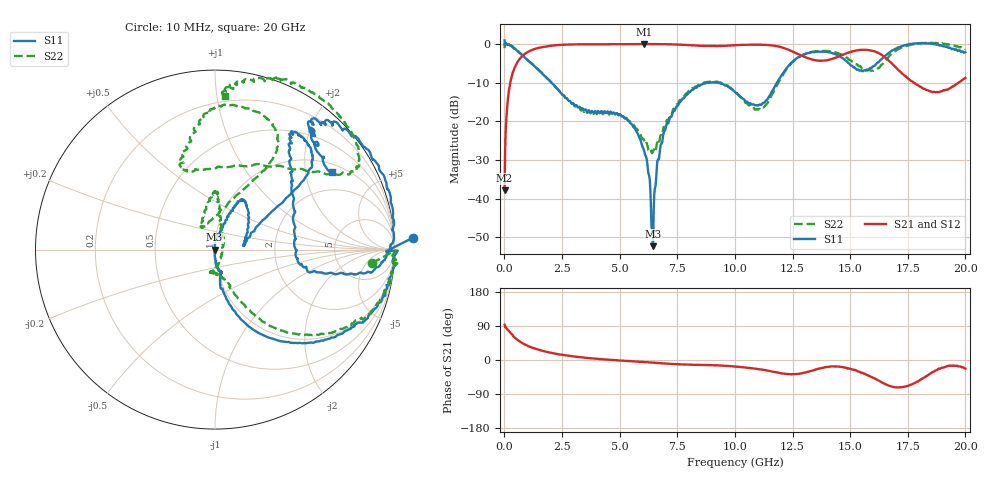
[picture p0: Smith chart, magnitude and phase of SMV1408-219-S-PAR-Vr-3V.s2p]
! Skyworks SMV1408-219 De-embedded S-Parameter Data
! Created  11-5-2013
! 2 Port Network Data
! Mounted on Board # SK41159-3 Rev 1 in Series, Cathode is connected to RF1 as Input( Pin 1) and Anode is connected RF2 as Output(Pin 2)
! Temperature = +25 °C
! RF traces and connectors are de-embedded using TRL calibration and standards
! Reference planes are package pins
! Pin 1 Input port (S-Port1), Pin 2 Output port (S-port2)
! Pin = 0 dBm, Bias: Vr = 3V
! Dev # 1
#  HZ  S  DB  R  50.00
! Rohde & Schwarz ZVA24 4Ports - Version 2.90 - 1145.1110k26 SN: 100216
! Date: 2013-11-05 15:25:33
! Measurements: S11 S21 S12 S22
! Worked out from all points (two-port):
!   2000 points, 10 MHz to 20 GHz, reference 50 ohm
!   highest |S21| = -0.06 dB at 6.05 GHz (marker M1); lowest = -37.8 dB at 10 MHz (marker M2)
!   |S21| within 3 dB of the highest: 791.7 MHz to 12.9 GHz (12.1 GHz wide, 177 % of centre); 14.59 GHz to 16.42 GHz (1.823 GHz wide, 11.8 % of centre)
!   lowest |S11| = -52.3 dB at 6.45 GHz (marker M3), VSWR 1.00, Z = 49.8 - j0.0363 ohm
!   |S11| at or under -10 dB: 2.039 GHz to 8.898 GHz (6.859 GHz wide, 125 % of centre); 9.116 GHz to 9.168 GHz (51.06 MHz wide, 0.559 % of centre); 9.223 GHz to 11.83 GHz (2.608 GHz wide, 24.8 % of centre)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
!   |S22| runs from -28.2 to 0.3 dB; largest |S21 - S12| = 0.034
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1e7  0.88 3.5  -37.82 93.1  -37.50 89.5  -1.12 -4.9
2.1e8  -0.25 -15.5  -11.66 75.5  -11.66 75.6  -0.26 -14.9
6.1e8  -2.03 -39.8  -4.32 51.4  -4.31 51.4  -2.01 -35.8
1.58e9  -7.32 -68.4  -0.92 25.4  -0.92 25.5  -7.19 -58.6
3.35e9  -16.85 -78.2  -0.12 7.0  -0.12 6.9  -17.12 -84.0
5.22e9  -19.27 -81.4  -0.09 -2.1  -0.10 -2.1  -19.13 -91.3
6.05e9  -27.31 -92.2  -0.06 -5.3  -0.07 -5.3  -24.80 -55.4
6.45e9  -52.30 -171.3  -0.07 -7.0  -0.08 -6.9  -27.71 -6.3
6.68e9  -29.94 87.6  -0.08 -8.1  -0.09 -7.8  -25.93 34.3
7.11e9  -20.53 72.9  -0.11 -9.9  -0.12 -9.8  -19.90 71.2
8.06e9  -12.44 65.5  -0.34 -12.4  -0.35 -12.4  -12.09 86.3
1.001e10  -12.45 38.4  -0.35 -17.1  -0.36 -17.1  -12.45 102.0
1.118e10  -15.59 9.8  -0.23 -25.4  -0.24 -24.9  -16.52 110.6
1.229e10  -5.92 36.1  -1.45 -37.0  -1.45 -37.4  -6.16 59.1
1.334e10  -2.15 47.3  -4.04 -28.2  -4.04 -27.8  -2.10 68.5
1.438e10  -2.73 54.1  -3.56 -17.3  -3.57 -17.3  -2.25 92.2
1.551e10  -7.00 7.1  -1.53 -34.3  -1.54 -32.6  -6.26 111.5
1.605e10  -5.70 -11.3  -1.92 -48.4  -1.92 -48.1  -6.78 88.6
1.667e10  -2.37 -10.3  -4.29 -67.2  -4.29 -67.2  -3.41 40.3
1.758e10  -0.01 3.4  -9.30 -66.5  -9.30 -66.0  -0.35 34.3
1.889e10  -0.44 46.6  -12.36 -22.8  -12.36 -21.8  0.16 68.8
2e10  -2.15 33.6  -8.81 -22.7  -8.81 -22.3  -1.32 86.4
